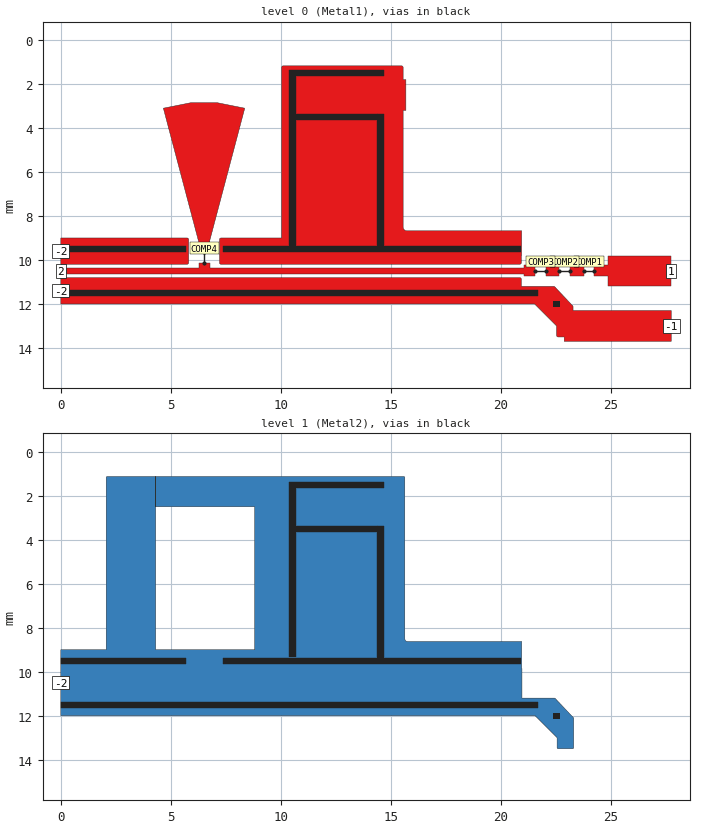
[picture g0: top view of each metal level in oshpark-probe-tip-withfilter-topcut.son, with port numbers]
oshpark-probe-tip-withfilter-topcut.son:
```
FTYP SONPROJ 18 ! Sonnet Project File
VER 17.56
HEADER
LIC antikernel2.1.50170 3cfdfeabd719 havequick azonenberg Level3Gold
DAT 02/23/2021 00:37:07
BUILT_BY_CREATED dxf 17.52.2 05/01/2020 05:35:06
BUILT_BY_SAVED sonnet 17.56
MDATE 02/23/2021 00:37:07
HDATE 02/23/2021 00:37:07
ANN Created by dxfgeo, Sonnet Software Inc.
END HEADER
DIM
ANG DEG
CAP PF
CON /OH
FREQ GHZ
IND NH
LNG MM
RES OH
END DIM
CONTROL
VARSWP
OPTIONS  -dj
SPEED 1
CACHE_ABS 1
Q_ACC N
END CONTROL
GEO
TMET "Free Space" 0 FREESPACE 376.7303136 0 0 0
BMET "Free Space" 0 FREESPACE 376.7303136 0 0 0
MET "Copper 1oz thick" 2 TMM 58000000 0.5 0.035 2
MET "Nickel " 3 TMM 14300000 0.5 3.5e-05 2
MET "Copper 0.5oz" 1 NOR 58000000 0.5 0.0175 
MET "Unknown_metal" 1 NOR INF 0.5 0 
MET "Unknown_metal" 1 VOL INF 0
BRI "Alumina (96%)" 0 9.4 0.0004 0 
BRI "Alumina (99.5%)" 0 9.9 0.0001 0 
BRI "Aluminum Nitride" 0 8.6 0.0003 0 
BRI "Arlon 25FR" 0 3.58 0.0035 0 
BRI "Arlon 25N" 0 3.38 0.0025 0 
BRI "Arlon AD5" 0 5.1 0.003 0 
BRI "Arlon AD10" 0 10.2 0.005 0 
BRI "Arlon AD250" 0 2.5 0.0018 0 
BRI "Arlon AD255A" 0 2.55 0.0015 0 
BRI "Arlon AD260A" 0 2.6 0.0018 0 
BRI "Arlon AD270" 0 2.7 0.0023 0 
BRI "Arlon AD300A" 0 3 0.002 0 
BRI "Arlon AD320A" 0 3.2 0.0032 0 
BRI "Arlon AD350A" 0 3.5 0.003 0 
BRI "Arlon AD410" 0 4.1 0.003 0 
BRI "Arlon AD430" 0 4.3 0.003 0 
BRI "Arlon AD450" 0 4.5 0.0035 0 
BRI "Arlon AD600" 0 6.15 0.003 0 
BRI "Arlon AD1000" 0 10.2 0.0023 0 
BRI "Arlon AR1000" 0 9.8 0.003 0 
BRI "Arlon CLTE" 0 2.96 0.0023 0 
BRI "Arlon CLTE-AT" 0 3 0.0013 0 
BRI "Arlon CLTE-P" 0 2.94 0.0025 0 
BRI "Arlon CLTE-XT" 0 2.94 0.0012 0 
BRI "Arlon Cu 217LX" 0 2.17 0.0009 0 
BRI "Arlon Cu 233LX" 0 2.33 0.0013 0 
BRI "Arlon Cu 250GT" 0 2.5 0.001 0 
BRI "Arlon Cu 250GX" 0 2.5 0.0018 0 
BRI "Arlon Cu 6250" 0 2.32 0.0013 0 
BRI "Arlon Cu 6700" 0 2.35 0.0025 0 
BRI "Arlon Di 522" 0 2.5 0.001 0 
BRI "Arlon Di 527" 0 2.5 0.0018 0 
BRI "Arlon Di 870" 0 2.33 0.0013 0 
BRI "Arlon Di 880" 0 2.17 0.0009 0 
BRI "Arlon Iso 917" 0 2.17 0.0013 0 
BRI "Arlon Iso 933" 0 2.33 0.0016 0 
BRI "Arlon Multi HF" 0 3.7 0.004 0 
BRI "Arlon TC350" 0 3.5 0.002 0 
BRI "Arlon TC600" 0 6.15 0.002 0 
BRI "Beryllia (99.5%)" 0 6.5 0.0004 0 
BRI "CEM-1" 0 4.5 0.02 0 
BRI "CEM-3" 0 4.5 0.02 0 
BRI "Dupont 9K7" 0 7.1 0.0012 0 
BRI "Dupont 943" 0 7.4 0.002 0 
BRI "Dupont 951" 0 7.8 0.006 0 
BRI "Dupont FEP" 0 2 0.0005 0 
BRI "Dupont Vacrel" 0 3.8 0.011 0 
BRI "ESL 41010" 0 7.5 0.005 0 
BRI "ESL 41020" 0 7.25 0.005 0 
BRI "ESL 41050" 0 13.5 0.002 0 
BRI "ESL 41060" 0 16.5 0.002 0 
BRI "ESL 41110" 0 4.5 0.004 0 
BRI "Ferro A6M" 0 5.9 0.002 0 
BRI "Ferro A6S" 0 5.9 0.002 0 
BRI "Ferro L8" 0 7.3 0.0018 0 
BRI "FR-4" 0 4.4 0.02 0 
BRI "G-10" 0 4.8 0.025 0 
BRI "Gallium Arsenide" 0 12.9 0.006 0 
BRI "Gallium Nitride" 0 9.7 0 0 
BRI "Glass (Pyrex)" 0 4.82 0.0054 0 
BRI "Heraeus HL2000" 0 7.3 0.0026 0 
BRI "Isola 370HR" 0 4.04 0.021 0 
BRI "Isola FR408" 0 3.77 0.0116 0 
BRI "Isola FR408HR" 0 3.68 0.0092 0 
BRI "Isola Getek" 0 3.6 0.01 0 
BRI "Isola GI-180" 0 3.7 0.013 0 
BRI "Isola IS415" 0 3.82 0.0125 0 
BRI "Isola IS620i" 0 3.58 0.006 0 
BRI "Isola IS680-280" 0 2.8 0.0025 0 
BRI "Isola IS680-300" 0 3 0.003 0 
BRI "Isola IS680-320" 0 3.2 0.003 0 
BRI "Isola IS680-333" 0 3.33 0.003 0 
BRI "Isola IS680-338" 0 3.38 0.0032 0 
BRI "Isola IS680-345" 0 3.45 0.0036 0 
BRI "Kerafol CT800" 0 5.3 0.008 0 
BRI "Nelco MW9350" 0 3.7 0.004 0 
BRI "Nelco N4000-12" 0 3.7 0.008 0 
BRI "Nelco N4000-13" 0 3.7 0.009 0 
BRI "Nelco N4000-13SI" 0 3.2 0.007 0 
BRI "Nelco N4000-13EP" 0 3.7 0.008 0 
BRI "Nelco N4350-13RF" 0 3.5 0.0065 0 
BRI "Nelco N4380-13RF" 0 3.8 0.007 0 
BRI "Nelco N9300-13RF" 0 3 0.004 0 
BRI "Nelco N9320-13RF" 0 3.2 0.0045 0 
BRI "Nelco N9338-13RF" 0 3.38 0.0046 0 
BRI "Nelco N9350-13RF" 0 3.48 0.0055 0 
BRI "Nelco NH9294" 0 2.94 0.0022 0 
BRI "Nelco NH9300" 0 3 0.0023 0 
BRI "Nelco NH9320" 0 3.2 0.0024 0 
BRI "Nelco NH9338" 0 3.38 0.0025 0 
BRI "Nelco NH9348" 0 3.48 0.003 0 
BRI "Nelco NH9350" 0 3.5 0.003 0 
BRI "Nelco NH9410" 0 4.1 0.003 0 
BRI "Nelco NH9450" 0 4.5 0.003 0 
BRI "Nelco NX9240" 0 2.4 0.0016 0 
BRI "Nelco NX9245" 0 2.45 0.0016 0 
BRI "Nelco NX9250" 0 2.5 0.0017 0 
BRI "Nelco NX9255" 0 2.55 0.0018 0 
BRI "Nelco NX9260" 0 2.6 0.0019 0 
BRI "Nelco NY9208" 0 2.08 0.0006 0 
BRI "Nelco NY9217" 0 2.17 0.0008 0 
BRI "Nelco NY9220" 0 2.2 0.0009 0 
BRI "Nelco NY9233" 0 2.33 0.0011 0 
BRI "PET" 0 3.37 0.0208 0 
BRI "Polyimide" 0 3.5 0.003 0 
BRI "Quartz (Fused)" 0 3.78 0.0001 0 
BRI "Rogers 3001" 0 2.28 0.003 0 
BRI "Rogers RO2808" 0 7.6 0.0015 0 
BRI "Rogers RO3003" 0 3 0.0013 0 
BRI "Rogers RO3006" 0 6.5 0.002 0 
BRI "Rogers RO3010" 0 11.2 0.0022 0 
BRI "Rogers RO3035" 0 3.6 0.0018 0 
BRI "Rogers RO3203" 0 3.02 0.0016 0 
BRI "Rogers RO3206" 0 6.6 0.0027 0 
BRI "Rogers RO3210" 0 10.8 0.0027 0 
BRI "Rogers RO3730" 0 3 0.0016 0 
BRI "Rogers RO4003C" 0 3.55 0.0029 0 
BRI "Rogers RO4533" 0 3.45 0.0029 0 
BRI "Rogers RO4534" 0 3.4 0.003 0 
BRI "Rogers RO4350B" 0 3.66 0.0037 0 
BRI "Rogers RO4350BTX" 0 3.66 0.0034 0 
BRI "Rogers RO4360" 0 6.15 0.0038 0 
BRI "Rogers RO4450B-3.6" 0 3.3 0.0043 0 
BRI "Rogers RO4450B-4" 0 3.54 0.004 0 
BRI "Rogers RO4450F" 0 3.52 0.0041 0 
BRI "Rogers RO4730" 0 3 0.0033 0 
BRI "Rogers RT5870" 0 2.33 0.0012 0 
BRI "Rogers RT5880" 0 2.2 0.0009 0 
BRI "Rogers RT5880LZ" 0 1.96 0.0019 0 
BRI "Rogers RT6002" 0 2.94 0.0012 0 
BRI "Rogers RT6006" 0 6.15 0.0027 0 
BRI "Rogers RT6010LM" 0 10.9 0.0023 0 
BRI "Rogers RT6035HTC" 0 3.6 0.0013 0 
BRI "Rogers RT6202" 0 2.94 0.0015 0 
BRI "Rogers RT6202PR" 0 2.95 0.0015 0 
BRI "Rogers Syron7000" 0 3.4 0.0045 0 
BRI "Rogers Syron7100-2" 0 3.61 0.006 0 
BRI "Rogers Syron7100-4" 0 3.39 0.005 0 
BRI "Rogers Theta" 0 4.01 0.0118 0 
BRI "Rogers TMM 3" 0 3.39 0.002 0 
BRI "Rogers TMM 4" 0 4.5 0.002 0 
BRI "Rogers TMM 6" 0 6 0.0023 0 
BRI "Rogers TMM 10" 0 9.56 0.0022 0 
BRI "Rogers TMM 10i" 0 9.96 0.002 0 
BRI "Rogers UL2000" 0 2.5 0.0019 0 
BRI "Rogers UL3850" 0 3.05 0.0025 0 
BRI "Rogers UL3908" 0 2.9 0.0025 0 
BRI "Rogers XT8000" 0 3.34 0.0035 0 
BRI "Rogers XT8100-2" 0 3.54 0.0049 0 
BRI "Rogers XT8100-4" 0 3.32 0.0038 0 
BRI "Silicon (intrinsic)" 0 11.9 0.004 0.00044 
BRI "Silicon Dioxide" 0 3.9 0 0 
BRI "Silicon Nitride" 0 7.5 0 0 
BRI "Taconic CER-10" 0 10 0.0035 0 
BRI "Taconic FastFilm" 0 2.7 0.0012 0 
BRI "Taconic Fastrise-DS" 0 2.96 0.0018 0 
BRI "Taconic Fastrise27" 0 2.7 0.0014 0 
BRI "Taconic Fastrise77" 0 7.7 0.0034 0 
BRI "Taconic FEP" 0 2 0.0003 0 
BRI "Taconic RF-30" 0 3 0.0014 0 
BRI "Taconic RF-35" 0 3.5 0.0018 0 
BRI "Taconic RF-35A2" 0 3.5 0.0011 0 
BRI "Taconic RF-35P" 0 3.5 0.0025 0 
BRI "Taconic RF-41" 0 4.1 0.0038 0 
BRI "Taconic RF-43" 0 4.3 0.0033 0 
BRI "Taconic RF-45" 0 4.5 0.0037 0 
BRI "Taconic RF-60A" 0 6.15 0.0038 0 
BRI "Taconic RF-301" 0 2.97 0.0012 0 
BRI "Taconic TacBond HT" 0 2.35 0.0025 0 
BRI "Taconic TLA-6" 0 2.62 0.0012 0 
BRI "Taconic TLC-27" 0 2.75 0.003 0 
BRI "Taconic TLC-30" 0 3 0.003 0 
BRI "Taconic TLC-32" 0 3.2 0.003 0 
BRI "Taconic TLE-95" 0 2.95 0.0028 0 
BRI "Taconic TLF-34" 0 3.4 0.002 0 
BRI "Taconic TLF-35" 0 3.5 0.002 0 
BRI "Taconic TLP-3" 0 2.33 0.0009 0 
BRI "Taconic TLP-5" 0 2.2 0.0009 0 
BRI "Taconic TLP-5A" 0 2.17 0.0009 0 
BRI "Taconic TLT-0" 0 2.45 0.0006 0 
BRI "Taconic TLT-9" 0 2.5 0.0006 0 
BRI "Taconic TLT-8" 0 2.55 0.0006 0 
BRI "Taconic TLT-7" 0 2.6 0.0006 0 
BRI "Taconic TLT-6" 0 2.65 0.0006 0 
BRI "Taconic TLX-0" 0 2.45 0.0019 0 
BRI "Taconic TLX-9" 0 2.5 0.0019 0 
BRI "Taconic TLX-8" 0 2.55 0.0019 0 
BRI "Taconic TLX-7" 0 2.6 0.0019 0 
BRI "Taconic TLX-6" 0 2.65 0.0019 0 
BRI "Taconic TLY-3" 0 2.33 0.0009 0 
BRI "Taconic TLY-3F" 0 2.33 0.0009 0 
BRI "Taconic TLY-5" 0 2.2 0.0009 0 
BRI "Taconic TLY-5-L" 0 2.2 0.0009 0 
BRI "Taconic TLY-5A" 0 2.17 0.0009 0 
BRI "Taconic TLY-5A-L" 0 2.17 0.0009 0 
BRI "Taconic TPG-30" 0 3 0.0038 0 
BRI "Taconic TPG-32" 0 3.2 0.005 0 
BRI "Taconic TPG-35" 0 3.5 0.005 0 
BRI "Taconic TRF-41" 0 4.1 0.0035 0 
BRI "Taconic TRF-43" 0 4.3 0.0035 0 
BRI "Taconic TRF-45" 0 4.5 0.0035 0 
BRI "Taconic TSM-DS" 0 2.85 0.001 0 
BRI "Taconic TSM-DS3" 0 3 0.0011 0 
BRI "Taconic TSM-26" 0 2.6 0.0014 0 
BRI "Taconic TSM-29" 0 2.94 0.0013 0 
BRI "Taconic TSM-30" 0 3 0.0013 0 
BRI "Teflon (PTFE)" 0 2.08 0.0004 0 
BOX 2 27.75 15 1110 600 20 0
      1 1 1 0 0 0 0 "Air"
      0.166 3.6 1 0.0092 0 0 0 "Isola FR408HR"
      1 1 1 0 0 0 0 "Air"
TECHLAY METAL Metal1 BLACK -2 0 
0 0 0 N 1937 1 1 100 100 0 0 0 Y
END
END
TECHLAY VIA Via1 <UNSPECIFIED> -4 0 
VIA POLYGON
1 0 -1 N 1953 1 1 100 100 0 0 0 Y
TOLEVEL 0 RING NOCOVERS
END
END
TECHLAY METAL Metal2 BLACK -3 0 
1 0 2 N 1955 1 1 100 100 0 0 0 Y
END
END
LORGN 0 15 U 
POR1 BOX
POLY 883 1
9
1 50 0 0 0 27.741575 10.505 
POR1 BOX
POLY 1711 1
27
-2 50 0 0 0 0 9.6025 
POR1 BOX
POLY 1712 1
66
-1 50 0 0 0 27.75 13.005 
POR1 BOX
POLY 1712 1
40
-2 50 0 0 0 0 11.4075 
POR1 BOX
POLY 1713 1
7
2 50 0 0 0 0 10.505 
POR1 BOX
POLY 1964 1
84
-2 50 0 0 0 0 10.5 
SMD 0 "COMP1"
ID 1182
GNDREF AUTO
SBOX 23.886575 24.136575 10.38 10.63
PBSHW N
LPOS 24.011575 10.38
TYPE SPARAM 1
SMDP 0 24.261575 10.505 R 3 1 
EXSMDP
GNDREF AUTO
TERMW FEED
END EXSMDP
SMDP 0 23.761575 10.505 L 4 2 
EXSMDP
GNDREF AUTO
TERMW FEED
END EXSMDP
END
SMD 0 "COMP2"
ID 1187
GNDREF AUTO
SBOX 22.786575 23.036575 10.38 10.63
PBSHW N
LPOS 22.911575 10.38
TYPE SPARAM 1
SMDP 0 23.161575 10.505 R 5 1 
EXSMDP
GNDREF AUTO
TERMW FEED
END EXSMDP
SMDP 0 22.661575 10.505 L 6 2 
EXSMDP
GNDREF AUTO
TERMW FEED
END EXSMDP
END
SMD 0 "COMP3"
ID 1192
GNDREF AUTO
SBOX 21.686575 21.936575 10.38 10.63
PBSHW N
LPOS 21.811575 10.38
TYPE SPARAM 2
SMDP 0 22.061575 10.505 R 7 1 
EXSMDP
GNDREF AUTO
TERMW FEED
END EXSMDP
SMDP 0 21.561575 10.505 L 8 2 
EXSMDP
GNDREF AUTO
TERMW FEED
END EXSMDP
END
SMD 0 "COMP4"
ID 1197
GNDREF AUTO
SBOX 6.386575 6.636575 9.78 10.03
PBSHW N
LPOS 6.511575 9.78
TYPE SPARAM 2
SMDP 0 6.511575 10.155 B 9 1 
EXSMDP
GNDREF AUTO
TERMW FEED
END EXSMDP
SMDP 0 6.511575 9.655 T 10 2 
EXSMDP
GNDREF AUTO
TERMW FEED
END EXSMDP
END
NUM 17
0 5 0 N 884 1 1 100 100 0 0 0 Y
TLAYNAM Metal1 INH
USER_DAT FromImport
23.761575 10.255
23.161575 10.255
23.161575 10.755
23.761575 10.755
23.761575 10.255
END
0 11 0 N 883 1 1 100 100 0 0 0 Y
TLAYNAM Metal1 INH
USER_DAT FromImport
27.741575 9.805
24.881575 9.805
24.881575 10.255
24.261575 10.255
24.261575 10.493
24.261575 10.517
24.261575 10.755
24.881575 10.755
24.881575 11.205
27.741575 11.205
27.741575 9.805
END
0 9 0 N 878 1 1 100 100 0 0 0 Y
TLAYNAM Metal1 INH
USER_DAT FromImport
6.761575 9.155
8.361575 3.105
7.111575 2.855
5.911575 2.855
4.661575 3.105
6.261575 9.155
6.261575 9.655
6.761575 9.655
6.761575 9.155
END
0 5 0 N 885 1 1 100 100 0 0 0 Y
TLAYNAM Metal1 INH
USER_DAT FromImport
22.661575 10.255
22.061575 10.255
22.061575 10.755
22.661575 10.755
22.661575 10.255
END
0 31 0 N 1711 1 1 100 100 0 0 0 Y
TLAYNAM Metal1 INH
USER_DAT FromImport
5.754575 10.198
5.761575 10.196
5.768575 10.193
5.775575 10.189
5.781575 10.185
5.786575 10.181
5.792575 10.175
5.796575 10.17
5.800575 10.164
5.804575 10.157
5.807575 10.15
5.809575 10.143
5.811575 10.129
5.811575 9.076
5.809575 9.062
5.807575 9.055
5.804575 9.048
5.800575 9.041
5.796575 9.035
5.792575 9.03
5.786575 9.024
5.781575 9.02
5.775575 9.016
5.768575 9.012
5.761575 9.009
5.754575 9.007
5.740575 9.005
0 9.005
0 10.2
5.740575 10.2
5.754575 10.198
END
0 68 0 N 1712 1 1 100 100 0 0 0 Y
TLAYNAM Metal1 INH
USER_DAT FromImport
27.75 12.305
23.286575 12.305
23.286575 12.141
23.286575 12.126
23.285575 12.119
23.283575 12.112
23.277575 12.098
23.273575 12.092
23.268575 12.086
22.456575 11.226
22.45548409 11.22509091
22.454575 11.224
22.452575 11.22266667
22.450575 11.221
22.438575 11.213
22.437175 11.2124
22.436575 11.212
22.429575 11.209
22.422575 11.207
22.419575 11.20657143
22.417575 11.206
22.410575 11.205
20.937575 11.205
20.93734423 11.20492308
20.93689758 11.20467742
20.936575 11.20409091
20.936575 10.881
20.934575 10.867
20.932575 10.86
20.929575 10.853
20.925575 10.846
20.921575 10.84
20.917575 10.835
20.911575 10.829
20.906575 10.825
20.900575 10.821
20.893575 10.817
20.886575 10.814
20.879575 10.812
20.865575 10.81
0 10.81
0 12.005
21.535575 12.005
21.53580577 12.00507692
21.53689758 12.00567742
21.53890833 12.00733333
22.53324167 13.00166667
22.53625242 13.00532258
22.536575 13.00590909
22.536575 13.426
22.536575 13.434
22.538575 13.448
22.540575 13.455
22.543575 13.462
22.547575 13.469
22.551575 13.475
22.555575 13.48
22.561575 13.486
22.566575 13.49
22.572575 13.494
22.579575 13.498
22.586575 13.501
22.593575 13.503
22.607575 13.505
22.886575 13.505
22.886575 13.705
27.75 13.705
27.75 12.305
END
0 13 0 N 1713 1 1 100 100 0 0 0 Y
TLAYNAM Metal1 INH
USER_DAT FromImport
21.561575 10.255
21.061575 10.255
21.061575 10.35
6.761575 10.35
6.761575 10.155
6.261575 10.155
6.261575 10.35
0 10.35
0 10.66
21.061575 10.66
21.061575 10.755
21.561575 10.755
21.561575 10.255
END
0 102 0 N 1963 1 1 100 100 0 0 0 Y
TLAYNAM Metal1 INH
USER_DAT FromImport
20.879575 10.198
20.886575 10.196
20.893575 10.193
20.900575 10.189
20.906575 10.185
20.911575 10.181
20.917575 10.175
20.921575 10.17
20.925575 10.164
20.929575 10.157
20.932575 10.15
20.934575 10.143
20.936575 10.129
20.936575 9.806
20.93665192 9.80576923
20.93689758 9.80532258
20.93748409 9.805
20.95 9.805
20.95 8.68
15.744575 8.68
15.74224167 8.680333333
15.73695431 8.680862069
15.69933296 8.67683121
15.66656842 8.666516447
15.63553901 8.649760563
15.61508314 8.63263472
15.59151866 8.604488263
15.57473002 8.573398176
15.56431626 8.538251748
15.56074314 8.504902655
15.561575 8.497
15.561575 8.496
15.561575 3.205
15.686575 3.205
15.686575 1.805
15.561575 1.805
15.561575 1.259
15.561575 1.251
15.559575 1.237
15.557575 1.23
15.554575 1.223
15.550575 1.216
15.546575 1.21
15.542575 1.205
15.536575 1.199
15.531575 1.195
15.525575 1.191
15.518575 1.187
15.511575 1.184
15.504575 1.182
15.490575 1.18
10.107575 1.18
10.093575 1.182
10.086575 1.184
10.079575 1.187
10.072575 1.191
10.066575 1.195
10.061575 1.199
10.055575 1.205
10.051575 1.21
10.047575 1.216
10.043575 1.223
10.040575 1.23
10.038575 1.237
10.036575 1.251
10.036575 1.259
10.036575 9.004
10.03649808 9.004230769
10.03625242 9.004677419
10.03566591 9.005
7.282575 9.005
7.268575 9.007
7.261575 9.009
7.254575 9.012
7.247575 9.016
7.241575 9.02
7.236575 9.024
7.230575 9.03
7.226575 9.035
7.222575 9.041
7.218575 9.048
7.215575 9.055
7.213575 9.062
7.211575 9.076
7.211575 9.084
7.211575 10.121
7.211575 10.129
7.213575 10.143
7.215575 10.15
7.218575 10.157
7.222575 10.164
7.226575 10.17
7.230575 10.175
7.236575 10.181
7.241575 10.185
7.247575 10.189
7.254575 10.193
7.261575 10.196
7.268575 10.198
7.282575 10.2
20.865575 10.2
20.879575 10.198
END
VIA POLYGON
1 5 -1 N 727 1 1 100 100 0 0 0 Y
TOLEVEL 0 RING NOCOVERS
TLAYNAM Via1 INH
USER_DAT FromImport
14.386575 9.355
14.386575 3.355
14.686575 3.355
14.686575 9.355
14.386575 9.355
END
VIA POLYGON
1 5 -1 N 725 1 1 100 100 0 0 0 Y
TOLEVEL 0 RING NOCOVERS
TLAYNAM Via1 INH
USER_DAT FromImport
10.7 3.655
10.7 3.355
14.4 3.355
14.4 3.655
10.7 3.655
END
VIA POLYGON
1 5 -1 N 714 1 1 100 100 0 0 0 Y
TOLEVEL 0 RING NOCOVERS
TLAYNAM Via1 INH
USER_DAT FromImport
10.386575 1.655
10.386575 1.355
14.686575 1.355
14.686575 1.655
10.386575 1.655
END
VIA POLYGON
1 5 -1 N 877 1 1 100 100 0 0 0 Y
TOLEVEL 0 RING NOCOVERS
TLAYNAM Via1 INH
USER_DAT FromImport
22.386575 12.155
22.386575 11.855
22.686575 11.855
22.686575 12.155
22.386575 12.155
END
VIA POLYGON
1 5 -1 N 715 1 1 100 100 0 0 0 Y
TOLEVEL 0 RING NOCOVERS
TLAYNAM Via1 INH
USER_DAT FromImport
10.386575 9.35
10.386575 1.65
10.686575 1.65
10.686575 9.35
10.386575 9.35
END
VIA POLYGON
1 5 -1 N 1715 1 1 100 100 0 0 0 Y
TOLEVEL 0 RING NOCOVERS
TLAYNAM Via1 INH
USER_DAT FromImport
5.7 9.355
0 9.355
0 9.655
5.7 9.655
5.7 9.355
END
VIA POLYGON
1 5 -1 N 1716 1 1 100 100 0 0 0 Y
TOLEVEL 0 RING NOCOVERS
TLAYNAM Via1 INH
USER_DAT FromImport
21.686575 11.355
0 11.355
0 11.655
21.686575 11.655
21.686575 11.355
END
VIA POLYGON
1 5 -1 N 1965 1 1 100 100 0 0 0 Y
TOLEVEL 0 RING NOCOVERS
TLAYNAM Via1 INH
USER_DAT FromImport
20.9 9.355
7.386575 9.355
7.386575 9.655
20.9 9.655
20.9 9.355
END
1 104 2 N 1964 1 1 100 100 0 0 0 Y
TLAYNAM Metal2 INH
23.27449799 13.49900055
23.27950287 13.49699974
23.28350067 13.49500084
23.28849792 13.49300003
23.29650116 13.48699951
23.29949951 13.48399925
23.30549622 13.47599983
23.30750275 13.47200012
23.30750275 13.47100067
23.30950165 13.46699905
23.31150055 13.46199989
23.3125 13.45700073
23.3125 12.11300087
23.31150055 12.1079998
23.30950165 12.10300064
23.30750275 12.09900093
23.30549622 12.09399986
23.30349731 12.09199905
23.30349731 12.0909996
23.30049896 12.08699989
23.29650116 12.08300018
22.48149872 11.22100067
22.48149872 11.21999931
22.47850037 11.2159996
22.46649933 11.20700073
22.46549988 11.20700073
22.46350098 11.20499992
22.45850372 11.20299911
22.45649719 11.20299911
22.45449829 11.20199966
22.45349884 11.20100021
22.44850159 11.20000076
20.96250153 11.20000076
20.96250153 9.85
20.95 9.85
20.95 8.625
15.7634964 8.625
15.7385025 8.62299919
15.71050262 8.61400032
15.70749664 8.61300087
15.69450378 8.6060009
15.67150116 8.58699989
15.66249847 8.57600021
15.66149902 8.57299995
15.64749908 8.54800034
15.6384964 8.52099991
15.63749695 8.50099945
15.63749695 1.168000221
15.6364975 1.163000107
15.6344986 1.157999992
15.63249969 1.154000282
15.63050079 1.149000168
15.62449646 1.140999794
15.62149811 1.137999535
15.6135025 1.131999969
15.60849762 1.130000114
15.60449982 1.128000259
15.59950256 1.126000404
15.59449768 1.125
4.31349945 1.125
4.31349945 2.5
8.81150055 2.5
8.81150055 2.500999451
8.8125 2.500999451
8.8125 8.99900055
8.81150055 9
4.3125 9
4.3125 2.500999451
4.31349945 2.5
4.31349945 1.125
2.10549927 1.125
2.10050201 1.126000404
2.09549713 1.128000259
2.09149933 1.130000114
2.08650208 1.131999969
2.07849884 1.137999535
2.07550049 1.140999794
2.06950378 1.149000168
2.06749725 1.154000282
2.06549835 1.157999992
2.06349945 1.163000107
2.0625 1.168000221
2.0625 8.99900055
2.06150055 9
0 9
0 12
21.56150055 12
21.56150055 12.00099945
22.56150055 13.00099945
22.5625 13.00099945
22.5625 13.45700073
22.56349945 13.46199989
22.56549835 13.46699905
22.56749725 13.47100067
22.56950378 13.47599983
22.57550049 13.48399925
22.57849884 13.48699951
22.58650208 13.49300003
22.59149933 13.49500084
22.59549713 13.49699974
22.60050201 13.49900055
22.60549927 13.5
23.26950073 13.5
23.27449799 13.49900055
END
END GEO
OPT
MAX 100
END OPT
VARSWP
ENABLED Y
FREQ Y AY ABS_ENTRY 0.1 10.0 -1 300 
END
END VARSWP
SMDFILES
1 "../../../../../../../bulk/datasheets/Vishay/Resistors/FC/0402/FC0402-FlipChip-200 Ohm.s2p"
2 "../../../../../../../bulk/datasheets/Vishay/Resistors/FC/0402/FC0402-FlipChip-50 Ohm.s2p"
END SMDFILES
```
